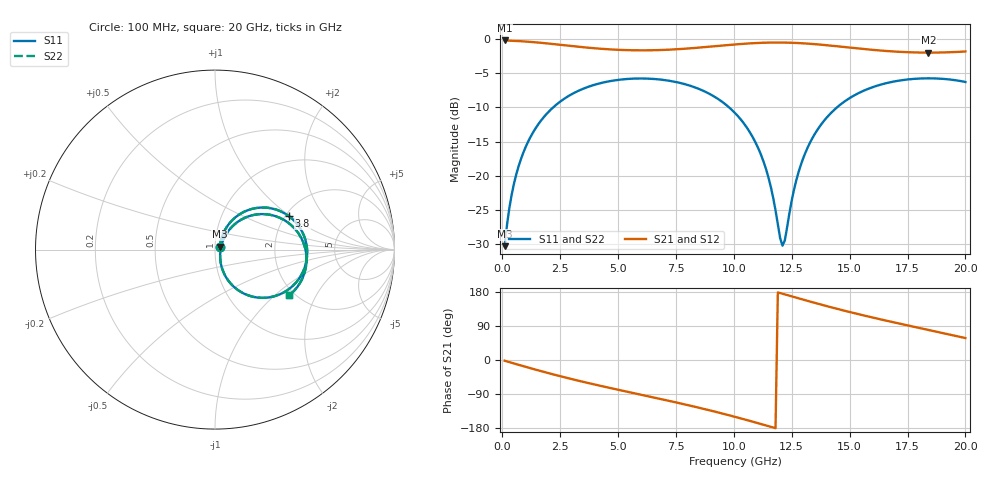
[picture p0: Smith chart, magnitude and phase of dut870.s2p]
! Touchstone file exported from HFSS 2026.1.0
!  File:  C:/ffzhzh/LocalFiles/Ansys_Project_Files/temp_train_TSV_RDL_870_1783272061_5512.aedt
!  Generated:  01:34:08 AM Jul  6, 2026
!  Design:  TSV_RDL
!  Project:  temp_train_TSV_RDL_870_1783272061_5512
! Variables:
!  h_bsmrdl = 4.24um
!  h_ox = 20um
!  h_rdl = 5um
!  h_sub = 60.47um
!  h_tmrdl = 4.34um
!  h_tsv = 60.47um
!  h_via = 3um
!  l_bsmrdl = 718.93um
!  l_sub = 5301.98um
!  l_tmrdl = 658.6um
!  m_sub = 200um
!  pitch = 41.87um
!  r_tsv = 9.91um
!  s_tmrdl = 10um
!  w_bsmrdl = 11.46um
!  w_sub = 500um
!  w_tmrdl = 25.47um
!  x_tsv_center1 = 671.335um
!  x_tsv_center2 = 1401.725um
!  x_tsv_center3 = 2085.795um
!  x_tsv_center4 = 2816.185um
!  x_tsv_center5 = 3500.255um
!  x_tsv_center6 = 4230.645um
# GHz S MA R 50.000000
! Terminal data exported
! Port[1] = TM_RDL1_1_T1
! Port[2] = TM_RDL5_1_T1
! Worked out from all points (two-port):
!   200 points, 100 MHz to 20 GHz, reference 50 ohm
!   highest |S21| = -0.22 dB at 100 MHz (marker M1); lowest = -2.0 dB at 18.4 GHz (marker M2)
!   |S21| within 3 dB of the highest: start of sweep to end of sweep
!   lowest |S11| = -30.3 dB at 100 MHz (marker M3), VSWR 1.06, Z = 52.6 + j1.77 ohm
!   |S11| at or under -10 dB: start of sweep to 2.196 GHz; 9.797 GHz to 14.45 GHz (4.658 GHz wide, 38.4 % of centre)
!   |S22| runs from -30.3 to -5.8 dB; largest |S21 - S12| = 2.2e-14
!   S11 on the Smith chart (normalised r, x): 100 MHz: 1.05, +0.04; 3.8 GHz: 2.09, +0.98; 20 GHz: 1.86, -1.24
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0.1  0.03065 33.3  0.9748 -1.9  0.9748 -1.9  0.03065 33.3
! Gamma 0 0 0 0
! Port Impedance 50 0 50 0
0.3  0.05749 56.5  0.9718 -5.5  0.9718 -5.5  0.05749 56.5
0.5  0.08702 62.0  0.9685 -9.1  0.9685 -9.1  0.08702 62.0
1.1  0.1755 60.6  0.955 -19.6  0.955 -19.6  0.1755 60.6
2.1  0.3054 47.8  0.9214 -36.4  0.9214 -36.4  0.3054 47.9
3.5  0.4332 28.3  0.8697 -57.8  0.8697 -57.8  0.4332 28.3
3.8  0.4523 24.3  0.8602 -62.0  0.8602 -62.0  0.4523 24.3
5.3  0.5085 4.8  0.8291 -82.5  0.8291 -82.5  0.5085 4.8
6.8  0.5057 -14.1  0.8295 -102.4  0.8295 -102.4  0.5057 -14.1
8.6  0.4239 -37.6  0.8672 -127.5  0.8672 -127.5  0.4238 -37.5
10.1  0.282 -58.0  0.913 -150.8  0.913 -150.8  0.282 -57.9
10.8  0.1937 -66.4  0.9303 -162.5  0.9303 -162.5  0.1937 -66.3
11.3  0.1247 -69.5  0.9384 -171.1  0.9384 -171.1  0.1247 -69.4
11.6  0.08266 -67.0  0.941 -176.4  0.941 -176.4  0.08269 -66.8
12.1  0.03091 -10.4  0.9413 174.9  0.9413 174.9  0.03119 -10.2
12.2  0.03368 14.5  0.9408 173.1  0.9408 173.1  0.03397 14.4
12.7  0.09332 53.1  0.9348 164.4  0.9348 164.4  0.09349 53.0
13.4  0.1896 51.5  0.9189 152.4  0.9189 152.4  0.1897 51.4
14.7  0.3414 35.3  0.8755 131.2  0.8755 131.2  0.3415 35.3
16.7  0.4804 9.1  0.8139 102.2  0.8139 102.2  0.4805 9.1
18.4  0.5157 -12.0  0.7944 79.5  0.7944 79.5  0.5157 -12.0
20  0.4849 -31.8  0.8098 57.9  0.8098 57.9  0.485 -31.8
